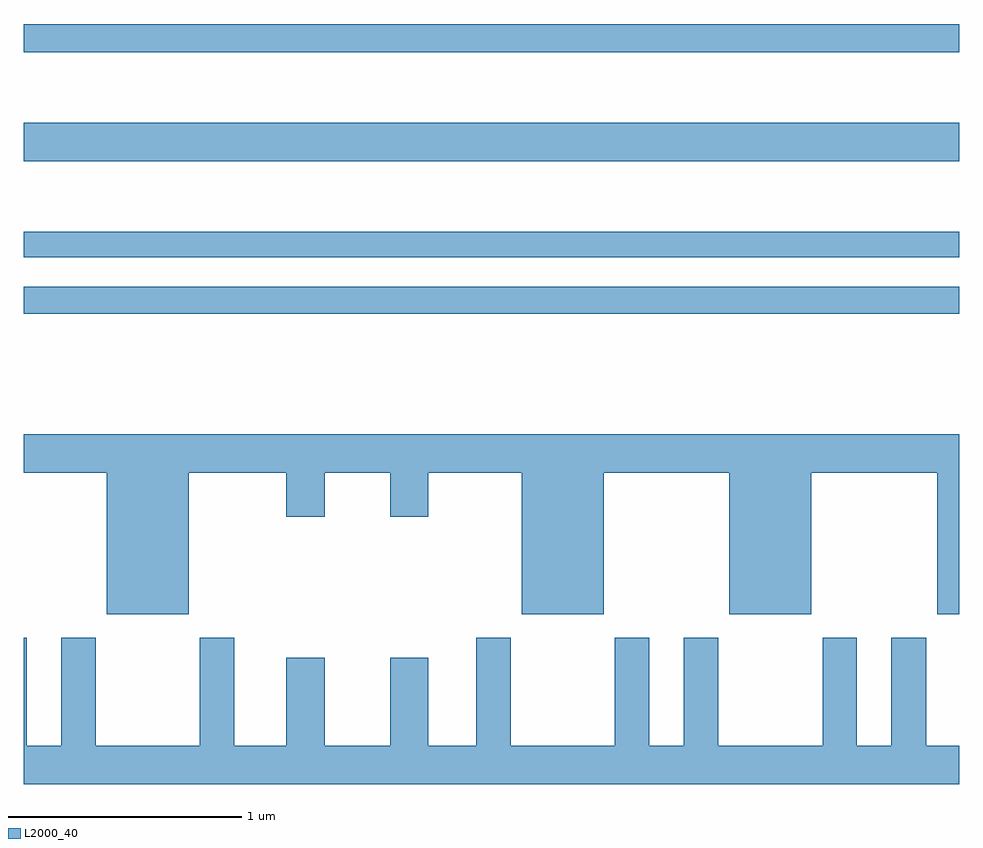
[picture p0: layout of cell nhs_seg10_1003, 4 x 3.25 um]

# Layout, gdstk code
import gdstk
lib = gdstk.Library(unit=1e-6, precision=1e-09)
def R(c, l, rs):  # rectangles x0, y0, x1, y1
    for r in rs: c.add(gdstk.rectangle(r[:2], r[2:], *l))
def P(c, l, *ps):  # polygons
    for p in ps: c.add(gdstk.Polygon(p, *l))
L2000_40 = (2000, 40)

nhs_seg10_1003 = lib.new_cell('nhs_seg10_1003')
R(nhs_seg10_1003, L2000_40, [(161,1328.968,165,1329.084), (161,1329.21,165,1329.319), (161,1329.62,165,1329.784), (161,1330.086,165,1330.207)])
P(nhs_seg10_1003, L2000_40, [(161.704,1328.288),(162.122,1328.288),(162.122,1328.1),(162.286,1328.1),(162.286,1328.288),(162.566,1328.288),(162.566,1328.1),(162.73,1328.1),(162.73,1328.288),(163.13,1328.288),(163.13,1327.682),(163.48,1327.682),(163.48,1328.288),(164.018,1328.288),(164.018,1327.682),(164.368,1327.682),(164.368,1328.288),(164.906,1328.288),(164.906,1327.682),(165,1327.682),(165,1328.452),(161,1328.452),(161,1328.288),(161.354,1328.288),(161.354,1327.682),(161.704,1327.682)],
  [(161,1327.582),(161,1326.956),(165,1326.956),(165,1327.12),(164.859,1327.12),(164.859,1327.582),(164.711,1327.582),(164.711,1327.12),(164.563,1327.12),(164.563,1327.582),(164.416,1327.582),(164.416,1327.12),(163.971,1327.12),(163.971,1327.582),(163.823,1327.582),(163.823,1327.12),(163.675,1327.12),(163.675,1327.582),(163.528,1327.582),(163.528,1327.12),(163.083,1327.12),(163.083,1327.582),(162.935,1327.582),(162.935,1327.12),(162.73,1327.12),(162.73,1327.495),(162.566,1327.495),(162.566,1327.12),(162.286,1327.12),(162.286,1327.495),(162.122,1327.495),(162.122,1327.12),(161.899,1327.12),(161.899,1327.582),(161.752,1327.582),(161.752,1327.12),(161.307,1327.12),(161.307,1327.582),(161.159,1327.582),(161.159,1327.12),(161.011,1327.12),(161.011,1327.582)])

lib.write_gds('nhs_seg10_1003.gds')
